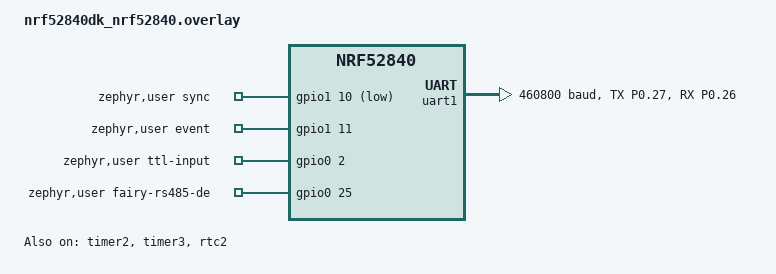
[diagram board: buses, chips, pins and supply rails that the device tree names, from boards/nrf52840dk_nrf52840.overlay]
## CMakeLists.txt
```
cmake_minimum_required(VERSION 3.20.0)
find_package(Zephyr REQUIRED HINTS $ENV{ZEPHYR_BASE})

project(korora)

target_sources(app PRIVATE src/main.c)
```

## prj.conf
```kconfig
CONFIG_I2C=y
CONFIG_SERIAL=y
CONFIG_CONSOLE=y
CONFIG_UART_CONSOLE=y
CONFIG_PRINTK=y
CONFIG_CBPRINTF_FULL_INTEGRAL=y

# Direct nrfx ownership of the hardware SYNC path and RTC mirror.
CONFIG_GPIO=n
CONFIG_NRFX_GPIOTE=y
CONFIG_NRFX_GPPI=y
CONFIG_NRFX_TIMER=y
CONFIG_NRFX_RTC=y

CONFIG_CLOCK_CONTROL=y
CONFIG_CLOCK_CONTROL_NRF=y
CONFIG_CLOCK_CONTROL_NRF_K32SRC_XTAL=y

CONFIG_BT=y
CONFIG_BT_CENTRAL=y
CONFIG_BT_PERIPHERAL=y
CONFIG_BT_DEVICE_NAME="korora"
CONFIG_BT_MAX_CONN=2
CONFIG_BT_GATT_CLIENT=y
CONFIG_BT_CTLR_SDC_PERIPHERAL_COUNT=1
CONFIG_BT_CTLR_SDC_CONN_ANCHOR_POINT_REPORT=y
CONFIG_BT_HCI_VS_EVT_USER=y
CONFIG_NRFX_GPIOTE_NUM_OF_EVT_HANDLERS=2

# The galapagos report is a 40-byte ATT notification, requiring MTU >= 43.
CONFIG_BT_L2CAP_TX_MTU=64
CONFIG_BT_BUF_ACL_RX_SIZE=68
CONFIG_BT_BUF_ACL_TX_SIZE=68

CONFIG_MAIN_STACK_SIZE=6144
CONFIG_SYSTEM_WORKQUEUE_STACK_SIZE=6144
CONFIG_ASSERT=y
CONFIG_LOG=n
CONFIG_UART_ASYNC_API=y

# Galapagos return TTL is now 3.3 V and uses digital GPIOTE, not COMP.
CONFIG_COMPARATOR=n
```

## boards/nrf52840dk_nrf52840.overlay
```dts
#include <zephyr/dt-bindings/gpio/gpio.h>
#include <zephyr/dt-bindings/pinctrl/nrf-pinctrl.h>

/ {
    zephyr,user {
        /* Korora hardware synchronization output to every Fairy. */
        sync-gpios = <&gpio1 10 GPIO_ACTIVE_LOW>;

        /* Shared external event input. */
        event-gpios = <&gpio1 11 GPIO_ACTIVE_HIGH>;

        /* Galapagos is now 3.3 V: use a normal digital GPIOTE input. */
        ttl-input-gpios = <&gpio0 2 GPIO_ACTIVE_HIGH>;

        /* THVD1410 DE and /RE tied together: low=receive, high=transmit. */
        fairy-rs485-de-gpios = <&gpio0 25 GPIO_ACTIVE_HIGH>;
    };
};

&pinctrl {
    fairy_uart1_default: fairy_uart1_default {
        group1 {
            /* P0.27 -> THVD1410 D. */
            psels = <NRF_PSEL(UART_TX, 0, 27)>;
        };

        group2 {
            /* P0.26 <- THVD1410 R. */
            psels = <NRF_PSEL(UART_RX, 0, 26)>;
            bias-pull-up;
        };
    };

    fairy_uart1_sleep: fairy_uart1_sleep {
        group1 {
            psels = <NRF_PSEL(UART_TX, 0, 27)>,
                    <NRF_PSEL(UART_RX, 0, 26)>;
            low-power-enable;
        };
    };
};

&uart1 {
    compatible = "nordic,nrf-uarte";
    status = "okay";
    current-speed = <460800>;
    pinctrl-0 = <&fairy_uart1_default>;
    pinctrl-1 = <&fairy_uart1_sleep>;
    pinctrl-names = "default", "sleep";
};

&timer2 {
    status = "okay";
};

&timer3 {
    status = "okay";
};

&rtc2 {
    status = "okay";
};
```

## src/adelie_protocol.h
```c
#ifndef ADELIE_PROTOCOL_H
#define ADELIE_PROTOCOL_H

#include <stdint.h>

/* Fits in one ATT write/notification at the default 23-byte ATT MTU. */
#define ADELIE_FRAME_MAGIC 0xAD1EU
#define ADELIE_FRAME_VERSION 1U
#define ADELIE_FRAME_SIZE 20U

/* Requests sent from Adelie to Korora. */
#define ADELIE_MSG_CLOCK_SYNC_REQUEST 0x01U
#define ADELIE_MSG_FAIRY_DO_NOW_REQUEST 0x02U

/* Clock reply: timestamp=t2, value=(t3-t2) in Korora ticks. */
#define ADELIE_MSG_CLOCK_REPLY 0x81U

/* Command-stage notifications sent from Korora to Adelie. */
#define ADELIE_MSG_COMMAND_KORORA_RX 0x90U
#define ADELIE_MSG_COMMAND_FAIRY_TX_START 0x91U
#define ADELIE_MSG_COMMAND_FAIRY_RX 0x92U
#define ADELIE_MSG_COMMAND_FAIRY_EXEC 0x93U
#define ADELIE_MSG_COMMAND_KORORA_ACK_RX 0x94U
#define ADELIE_MSG_COMMAND_KORORA_DONE_TX 0x95U
#define ADELIE_MSG_ERROR 0xFFU

#define ADELIE_STATUS_OK 0U
#define ADELIE_STATUS_BUSY 1U
#define ADELIE_STATUS_BAD_FRAME 2U
#define ADELIE_STATUS_I2C_WRITE_FAILED 3U
#define ADELIE_STATUS_TIMEOUT 4U
#define ADELIE_STATUS_FAIRY_MODEL_INVALID 5U
#define ADELIE_STATUS_TOKEN_MISMATCH 6U
#define ADELIE_STATUS_NOTIFY_FAILED 7U

/*
 * Compatibility aliases for older Adelie scripts. The wire values do not
 * change, so old and new software can interoperate during migration.
 */
#define ADELIE_MSG_REWARD_DO_NOW_REQUEST ADELIE_MSG_FAIRY_DO_NOW_REQUEST
#define ADELIE_MSG_COMMAND_I2C_TX_START ADELIE_MSG_COMMAND_FAIRY_TX_START
#define ADELIE_MSG_COMMAND_REWARD_RX ADELIE_MSG_COMMAND_FAIRY_RX
#define ADELIE_MSG_COMMAND_REWARD_EXEC ADELIE_MSG_COMMAND_FAIRY_EXEC
#define ADELIE_STATUS_REWARD_MODEL_INVALID ADELIE_STATUS_FAIRY_MODEL_INVALID

/*
 * Little-endian wire layout:
 *   0  u16 magic
 *   2  u8  version
 *   3  u8  message_type
 *   4  u32 sequence
 *   8  u64 timestamp
 *  16  u32 value/status/delta
 */
#define ADELIE_OFFSET_MAGIC 0U
#define ADELIE_OFFSET_VERSION 2U
#define ADELIE_OFFSET_TYPE 3U
#define ADELIE_OFFSET_SEQUENCE 4U
#define ADELIE_OFFSET_TIMESTAMP 8U
#define ADELIE_OFFSET_VALUE 16U

#endif
```
